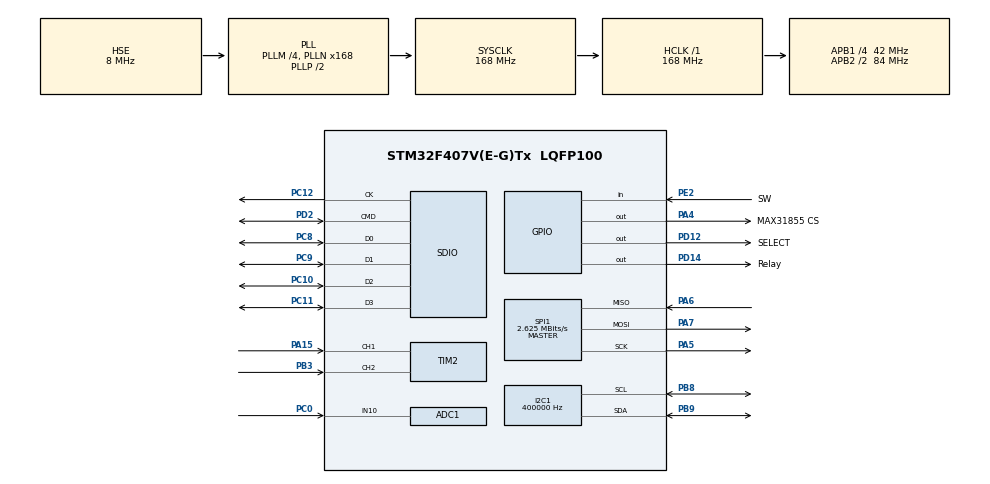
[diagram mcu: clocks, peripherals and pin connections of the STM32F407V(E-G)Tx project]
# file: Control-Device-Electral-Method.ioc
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ADC1.Channel-0\#ChannelRegularConversion=ADC_CHANNEL_10
ADC1.ClockPrescaler=ADC_CLOCK_SYNC_PCLK_DIV4
ADC1.NbrOfConversionFlag=1
ADC1.Rank-0\#ChannelRegularConversion=1
ADC1.SamplingTime-0\#ChannelRegularConversion=ADC_SAMPLETIME_15CYCLES
ADC1.master=1
FATFS._USE_STRFUNC=0
FATFS._USE_LFN=1
FATFS._FS_EXFAT=1
Mcu.Family=STM32F4
Mcu.Name=STM32F407V(E-G)Tx
Mcu.Package=LQFP100
NVIC.PriorityGroup=NVIC_PRIORITYGROUP_4
PA13.Mode=Serial_Wire
PA13.Signal=SYS_JTMS-SWDIO
PA14.Mode=Serial_Wire
PA14.Signal=SYS_JTCK-SWCLK
PA15.Signal=S_TIM2_CH1_ETR
PA4.GPIO_Label=MAX31855 CS
PA4.PinState=GPIO_PIN_SET
PA4.Signal=GPIO_Output
PA5.Mode=Full_Duplex_Master
PA5.Signal=SPI1_SCK
PA6.Mode=Full_Duplex_Master
PA6.Signal=SPI1_MISO
PA7.Mode=Full_Duplex_Master
PA7.Signal=SPI1_MOSI
PB3.Signal=S_TIM2_CH2
PB8.Mode=I2C
PB8.Signal=I2C1_SCL
PB9.Mode=I2C
PB9.Signal=I2C1_SDA
PC0.Signal=ADCx_IN10
PC10.Mode=SD_4_bits_Wide_bus
PC10.Signal=SDIO_D2
PC11.Mode=SD_4_bits_Wide_bus
PC11.Signal=SDIO_D3
PC12.Mode=SD_4_bits_Wide_bus
PC12.Signal=SDIO_CK
PC8.Mode=SD_4_bits_Wide_bus
PC8.Signal=SDIO_D0
PC9.Mode=SD_4_bits_Wide_bus
PC9.Signal=SDIO_D1
PD2.Mode=SD_4_bits_Wide_bus
PD2.Signal=SDIO_CMD
PD14.GPIO_Label=Relay
PD14.PinState=GPIO_PIN_RESET
PD14.Signal=GPIO_Output
PD12.GPIO_PuPd=GPIO_PULLDOWN
PD12.GPIO_Label=SELECT
PD12.PinState=GPIO_PIN_SET
PD12.Signal=GPIO_Output
PE2.GPIO_Label=SW
PE2.GPIO_PuPd=GPIO_PULLUP
PE2.Signal=GPIO_Input
PH0-OSC_IN.Mode=HSE-External-Oscillator
PH0-OSC_IN.Signal=RCC_OSC_IN
PH1-OSC_OUT.Mode=HSE-External-Oscillator
PH1-OSC_OUT.Signal=RCC_OSC_OUT
ProjectManager.HeapSize=0x200
ProjectManager.StackSize=0x2000
ProjectManager.TargetToolchain=STM32CubeIDE
RCC.48MHZClocksFreq_Value=48000000
RCC.AHBFreq_Value=168000000
RCC.APB1CLKDivider=RCC_HCLK_DIV4
RCC.APB1Freq_Value=42000000
RCC.APB1TimFreq_Value=84000000
RCC.APB2CLKDivider=RCC_HCLK_DIV2
RCC.APB2Freq_Value=84000000
RCC.APB2TimFreq_Value=168000000
RCC.CortexFreq_Value=168000000
RCC.HCLKFreq_Value=168000000
RCC.HSE_VALUE=8000000
RCC.HSI_VALUE=16000000
RCC.LSE_VALUE=32768
RCC.PLLM=4
RCC.PLLN=168
RCC.PLLQ=7
RCC.PLLSourceVirtual=RCC_PLLSOURCE_HSE
RCC.SYSCLKFreq_VALUE=168000000
RCC.SYSCLKSource=RCC_SYSCLKSOURCE_PLLCLK
RCC.VCOOutputFreq_Value=336000000
SH.ADCx_IN10.0=ADC1_IN10,IN10
SH.S_TIM2_CH1_ETR.0=TIM2_CH1,Encoder_Interface
SH.S_TIM2_CH2.0=TIM2_CH2,Encoder_Interface
SPI1.BaudRatePrescaler=SPI_BAUDRATEPRESCALER_32
SPI1.CalculateBaudRate=2.625 MBits/s
SPI1.Direction=SPI_DIRECTION_2LINES
SPI1.Mode=SPI_MODE_MASTER
SPI1.VirtualType=VM_MASTER
TIM2.EncoderMode=TIM_ENCODERMODE_TI12
TIM2.IC1Filter=15
TIM2.IC2Filter=15
VP_FATFS_VS_SDIO.Mode=SDIO
board=custom
I2C1.ClockSpeed=400000

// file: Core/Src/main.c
/* USER CODE BEGIN Header */
/**
  ******************************************************************************
  * @file           : main.c
  * @brief          : Main program body
  ******************************************************************************
  * @attention
  *
  * Copyright (c) 2026 STMicroelectronics.
  * All rights reserved.
  *
  * This software is licensed under terms that can be found in the LICENSE file
  * in the root directory of this software component.
  * If no LICENSE file comes with this software, it is provided AS-IS.
  *
  ******************************************************************************
  */
/* USER CODE END Header */
#include "main.h"
#include "fatfs.h"

/* USER CODE BEGIN Includes */
#include "app.h"
#include "board.h"
#include "pinout.h"
#include "sd_io.h"
#include "runtime_config.h"
/* USER CODE END Includes */

ADC_HandleTypeDef hadc1;

I2C_HandleTypeDef hi2c1;

SD_HandleTypeDef hsd;

SPI_HandleTypeDef hspi1;

TIM_HandleTypeDef htim2;

void SystemClock_Config(void);
static void MX_GPIO_Init(void);
static void MX_ADC1_Init(void);
static void MX_SDIO_SD_Init(void);
static void MX_SPI1_Init(void);
static void MX_TIM2_Init(void);
static void MX_I2C1_Init(void);

int main(void)
{

  /* USER CODE BEGIN 1 */
  board_init();
  app_init();
  for (;;) { app_run(); }
/* USER CODE END 1 */

  /* MCU Configuration--------------------------------------------------------*/

  /* Reset of all peripherals, Initializes the Flash interface and the Systick. */
  HAL_Init();

  /* Configure the system clock */
  SystemClock_Config();

  /* Initialize all configured peripherals */
  MX_GPIO_Init();
  MX_ADC1_Init();
  MX_SDIO_SD_Init();
  MX_SPI1_Init();
  MX_TIM2_Init();
  MX_FATFS_Init();
  MX_I2C1_Init();

  /* Infinite loop */
  while (1)
  {

  }
}

void SystemClock_Config(void)
{
  RCC_OscInitTypeDef RCC_OscInitStruct = {0};
  RCC_ClkInitTypeDef RCC_ClkInitStruct = {0};

  /** Configure the main internal regulator output voltage
  */
  __HAL_RCC_PWR_CLK_ENABLE();
  __HAL_PWR_VOLTAGESCALING_CONFIG(PWR_REGULATOR_VOLTAGE_SCALE1);

  /** Initializes the RCC Oscillators according to the specified parameters
  * in the RCC_OscInitTypeDef structure.
  */
  RCC_OscInitStruct.OscillatorType = RCC_OSCILLATORTYPE_HSE;
  RCC_OscInitStruct.HSEState = RCC_HSE_ON;
  RCC_OscInitStruct.PLL.PLLState = RCC_PLL_ON;
  RCC_OscInitStruct.PLL.PLLSource = RCC_PLLSOURCE_HSE;
  RCC_OscInitStruct.PLL.PLLM = 4;
  RCC_OscInitStruct.PLL.PLLN = 168;
  RCC_OscInitStruct.PLL.PLLP = RCC_PLLP_DIV2;
  RCC_OscInitStruct.PLL.PLLQ = 7;
  if (HAL_RCC_OscConfig(&RCC_OscInitStruct) != HAL_OK)
  {
    Error_Handler();
  }

  /** Initializes the CPU, AHB and APB buses clocks
  */
  RCC_ClkInitStruct.ClockType = RCC_CLOCKTYPE_HCLK|RCC_CLOCKTYPE_SYSCLK
                              |RCC_CLOCKTYPE_PCLK1|RCC_CLOCKTYPE_PCLK2;
  RCC_ClkInitStruct.SYSCLKSource = RCC_SYSCLKSOURCE_PLLCLK;
  RCC_ClkInitStruct.AHBCLKDivider = RCC_SYSCLK_DIV1;
  RCC_ClkInitStruct.APB1CLKDivider = RCC_HCLK_DIV4;
  RCC_ClkInitStruct.APB2CLKDivider = RCC_HCLK_DIV2;

  if (HAL_RCC_ClockConfig(&RCC_ClkInitStruct, FLASH_LATENCY_5) != HAL_OK)
  {
    Error_Handler();
  }
}

static void MX_ADC1_Init(void)
{

  ADC_ChannelConfTypeDef sConfig = {0};

  /** Configure the global features of the ADC (Clock, Resolution, Data Alignment and number of conversion)
  */
  hadc1.Instance = ADC1;
  hadc1.Init.ClockPrescaler = ADC_CLOCK_SYNC_PCLK_DIV4;
  hadc1.Init.Resolution = ADC_RESOLUTION_12B;
  hadc1.Init.ScanConvMode = DISABLE;
  hadc1.Init.ContinuousConvMode = DISABLE;
  hadc1.Init.DiscontinuousConvMode = DISABLE;
  hadc1.Init.ExternalTrigConvEdge = ADC_EXTERNALTRIGCONVEDGE_NONE;
  hadc1.Init.ExternalTrigConv = ADC_SOFTWARE_START;
  hadc1.Init.DataAlign = ADC_DATAALIGN_RIGHT;
  hadc1.Init.NbrOfConversion = 1;
  hadc1.Init.DMAContinuousRequests = DISABLE;
  hadc1.Init.EOCSelection = ADC_EOC_SINGLE_CONV;
  if (HAL_ADC_Init(&hadc1) != HAL_OK)
  {
    Error_Handler();
  }

  /** Configure for the selected ADC regular channel its corresponding rank in the sequencer and its sample time.
  */
  sConfig.Channel = ADC_CHANNEL_10;
  sConfig.Rank = 1;
  sConfig.SamplingTime = ADC_SAMPLETIME_15CYCLES;
  if (HAL_ADC_ConfigChannel(&hadc1, &sConfig) != HAL_OK)
  {
    Error_Handler();
  }

}

static void MX_I2C1_Init(void)
{

  hi2c1.Instance = I2C1;
  hi2c1.Init.ClockSpeed = 400000;
  hi2c1.Init.DutyCycle = I2C_DUTYCYCLE_2;
  hi2c1.Init.OwnAddress1 = 0;
  hi2c1.Init.AddressingMode = I2C_ADDRESSINGMODE_7BIT;
  hi2c1.Init.DualAddressMode = I2C_DUALADDRESS_DISABLE;
  hi2c1.Init.OwnAddress2 = 0;
  hi2c1.Init.GeneralCallMode = I2C_GENERALCALL_DISABLE;
  hi2c1.Init.NoStretchMode = I2C_NOSTRETCH_DISABLE;
  if (HAL_I2C_Init(&hi2c1) != HAL_OK)
  {
    Error_Handler();
  }

}

static void MX_SDIO_SD_Init(void)
{

  hsd.Instance = SDIO;
  hsd.Init.ClockEdge = SDIO_CLOCK_EDGE_RISING;
  hsd.Init.ClockBypass = SDIO_CLOCK_BYPASS_DISABLE;
  hsd.Init.ClockPowerSave = SDIO_CLOCK_POWER_SAVE_DISABLE;
  hsd.Init.BusWide = SDIO_BUS_WIDE_1B;
  hsd.Init.HardwareFlowControl = SDIO_HARDWARE_FLOW_CONTROL_DISABLE;
  hsd.Init.ClockDiv = 0;

}

static void MX_SPI1_Init(void)
{

  /* SPI1 parameter configuration*/
  hspi1.Instance = SPI1;
  hspi1.Init.Mode = SPI_MODE_MASTER;
  hspi1.Init.Direction = SPI_DIRECTION_2LINES;
  hspi1.Init.DataSize = SPI_DATASIZE_8BIT;
  hspi1.Init.CLKPolarity = SPI_POLARITY_LOW;
  hspi1.Init.CLKPhase = SPI_PHASE_1EDGE;
  hspi1.Init.NSS = SPI_NSS_SOFT;
  hspi1.Init.BaudRatePrescaler = SPI_BAUDRATEPRESCALER_32;
  hspi1.Init.FirstBit = SPI_FIRSTBIT_MSB;
  hspi1.Init.TIMode = SPI_TIMODE_DISABLE;
  hspi1.Init.CRCCalculation = SPI_CRCCALCULATION_DISABLE;
  hspi1.Init.CRCPolynomial = 10;
  if (HAL_SPI_Init(&hspi1) != HAL_OK)
  {
    Error_Handler();
  }

}

static void MX_TIM2_Init(void)
{

  TIM_Encoder_InitTypeDef sConfig = {0};
  TIM_MasterConfigTypeDef sMasterConfig = {0};

  htim2.Instance = TIM2;
  htim2.Init.Prescaler = 0;
  htim2.Init.CounterMode = TIM_COUNTERMODE_UP;
  htim2.Init.Period = 4294967295;
  htim2.Init.ClockDivision = TIM_CLOCKDIVISION_DIV1;
  htim2.Init.AutoReloadPreload = TIM_AUTORELOAD_PRELOAD_DISABLE;
  sConfig.EncoderMode = TIM_ENCODERMODE_TI12;
  sConfig.IC1Polarity = TIM_ICPOLARITY_RISING;
  sConfig.IC1Selection = TIM_ICSELECTION_DIRECTTI;
  sConfig.IC1Prescaler = TIM_ICPSC_DIV1;
  sConfig.IC1Filter = 15;
  sConfig.IC2Polarity = TIM_ICPOLARITY_RISING;
  sConfig.IC2Selection = TIM_ICSELECTION_DIRECTTI;
  sConfig.IC2Prescaler = TIM_ICPSC_DIV1;
  sConfig.IC2Filter = 15;
  if (HAL_TIM_Encoder_Init(&htim2, &sConfig) != HAL_OK)
  {
    Error_Handler();
  }
  sMasterConfig.MasterOutputTrigger = TIM_TRGO_RESET;
  sMasterConfig.MasterSlaveMode = TIM_MASTERSLAVEMODE_DISABLE;
  if (HAL_TIMEx_MasterConfigSynchronization(&htim2, &sMasterConfig) != HAL_OK)
  {
    Error_Handler();
  }

}

static void MX_GPIO_Init(void)
{
  GPIO_InitTypeDef GPIO_InitStruct = {0};
  /* USER CODE BEGIN MX_GPIO_Init_1 */
  /* Preload safe levels before CubeMX configures output direction. */
  PIN_SELECT_CLOCK_ENABLE();
  PIN_RELAY_CLOCK_ENABLE();
  __HAL_RCC_GPIOA_CLK_ENABLE();
  board_force_safe();
/* USER CODE END MX_GPIO_Init_1 */

  /* GPIO Ports Clock Enable */
  __HAL_RCC_GPIOE_CLK_ENABLE();
  __HAL_RCC_GPIOH_CLK_ENABLE();
  __HAL_RCC_GPIOC_CLK_ENABLE();
  __HAL_RCC_GPIOA_CLK_ENABLE();
  __HAL_RCC_GPIOD_CLK_ENABLE();
  __HAL_RCC_GPIOB_CLK_ENABLE();

  /*Configure GPIO pin Output Level */
  HAL_GPIO_WritePin(MAX31855_CS_GPIO_Port, MAX31855_CS_Pin, GPIO_PIN_SET);

  /*Configure GPIO pin Output Level */
  HAL_GPIO_WritePin(Relay_GPIO_Port, Relay_Pin, GPIO_PIN_RESET);

  /*Configure GPIO pin Output Level */
  HAL_GPIO_WritePin(SELECT_GPIO_Port, SELECT_Pin, GPIO_PIN_SET);

  /*Configure GPIO pin : SW_Pin */
  GPIO_InitStruct.Pin = SW_Pin;
  GPIO_InitStruct.Mode = GPIO_MODE_INPUT;
  GPIO_InitStruct.Pull = GPIO_PULLUP;
  HAL_GPIO_Init(SW_GPIO_Port, &GPIO_InitStruct);

  /*Configure GPIO pin : MAX31855_CS_Pin */
  GPIO_InitStruct.Pin = MAX31855_CS_Pin;
  GPIO_InitStruct.Mode = GPIO_MODE_OUTPUT_PP;
  GPIO_InitStruct.Pull = GPIO_NOPULL;
  GPIO_InitStruct.Speed = GPIO_SPEED_FREQ_LOW;
  HAL_GPIO_Init(MAX31855_CS_GPIO_Port, &GPIO_InitStruct);

  /*Configure relay separately: SELECT has its own internal pull-down. */
  GPIO_InitStruct.Pin = Relay_Pin;
  GPIO_InitStruct.Mode = GPIO_MODE_OUTPUT_PP;
  GPIO_InitStruct.Pull = GPIO_NOPULL;
  GPIO_InitStruct.Speed = GPIO_SPEED_FREQ_LOW;
  HAL_GPIO_Init(Relay_GPIO_Port, &GPIO_InitStruct);
  GPIO_InitStruct.Pin = SELECT_Pin;
  GPIO_InitStruct.Pull = PIN_SELECT_PULL;
  HAL_GPIO_Init(SELECT_GPIO_Port, &GPIO_InitStruct);

}

/* USER CODE BEGIN 4 */
void board_cube_clock_init(void) { SystemClock_Config(); }
void board_cube_gpio_init(void) { MX_GPIO_Init(); }
void board_cube_peripherals_init(void)
{
    MX_SPI1_Init();
    MX_ADC1_Init();
    MX_I2C1_Init();
    MX_TIM2_Init();
    (void)board_sd_prepare();
    MX_FATFS_Init();
}
/* USER CODE END 4 */

void Error_Handler(void)
{
  /* USER CODE BEGIN Error_Handler_Debug */
  board_force_safe();
  __disable_irq();
  for (;;) { }
/* USER CODE END Error_Handler_Debug */
}
